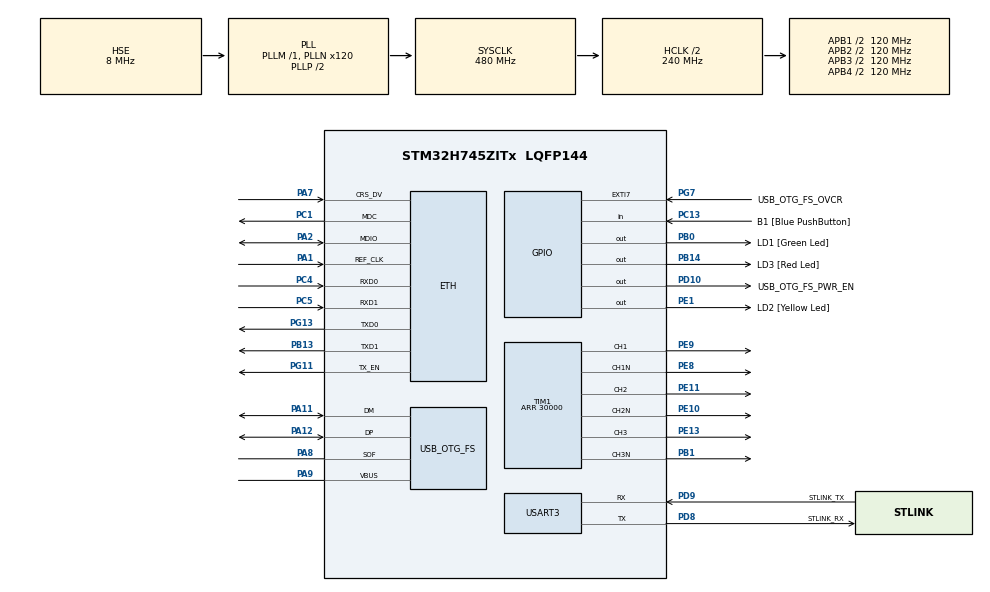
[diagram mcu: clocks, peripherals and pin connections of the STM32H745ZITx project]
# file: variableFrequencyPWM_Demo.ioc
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CortexM4.IPs=FATFS_M4\:I,FREERTOS_M4\:I,IWDG2\:I,RCC,WWDG2\:I,DMA,BDMA,MDMA,NVIC2\:I,USART3,ETH,DEBUG,USB_DEVICE_M4\:I,USB_HOST_M4\:I,PDM2PCM_M4\:I,PWR,RESMGR_UTILITY,SYS_M4\:I,CORTEX_M4\:I,OPENAMP_M4\:I,VREFBUF,GPIO
CortexM7.IPs=FATFS_M7\:I,FREERTOS_M7\:I,IWDG1\:I,RCC\:I,WWDG1\:I,DMA\:I,BDMA\:I,MDMA\:I,NVIC1\:I,SYS\:I,USART3\:I,USB_OTG_FS\:I,ETH\:I,CORTEX_M7\:I,DEBUG\:I,USB_DEVICE_M7\:I,USB_HOST_M7\:I,PDM2PCM_M7\:I,PWR\:I,RESMGR_UTILITY\:I,OPENAMP_M7\:I,VREFBUF\:I,GPIO\:I,TIM1\:I
ETH.MediaInterface=HAL_ETH_RMII_MODE
Mcu.Family=STM32H7
Mcu.Name=STM32H745ZITx
Mcu.Package=LQFP144
NVIC1.PriorityGroup=NVIC_PRIORITYGROUP_4
NVIC1.TIM1_UP_IRQn=true\:0\:0\:false\:false\:true\:true\:true\:true
NVIC2.PriorityGroup=NVIC_PRIORITYGROUP_4
PA1.Mode=RMII
PA1.PinAttribute=CortexM7
PA1.Signal=ETH_REF_CLK
PA11.Mode=Device_Only
PA11.PinAttribute=CortexM7
PA11.Signal=USB_OTG_FS_DM
PA12.Mode=Device_Only
PA12.PinAttribute=CortexM7
PA12.Signal=USB_OTG_FS_DP
PA2.Mode=RMII
PA2.PinAttribute=CortexM7
PA2.Signal=ETH_MDIO
PA7.Mode=RMII
PA7.PinAttribute=CortexM7
PA7.Signal=ETH_CRS_DV
PA8.Mode=Activate_SOF_FS
PA8.PinAttribute=CortexM7
PA8.Signal=USB_OTG_FS_SOF
PA9.Mode=Activate_VBUS
PA9.PinAttribute=CortexM7
PA9.Signal=USB_OTG_FS_VBUS
PB0.GPIO_Label=LD1 [Green Led]
PB0.PinAttribute=Free
PB0.Signal=GPIO_Output
PB1.Mode=PWM Generation3 CH3 CH3N
PB1.PinAttribute=CortexM7
PB1.Signal=TIM1_CH3N
PB13.Mode=RMII
PB13.PinAttribute=CortexM7
PB13.Signal=ETH_TXD1
PB14.GPIO_Label=LD3 [Red Led]
PB14.PinAttribute=Free
PB14.Signal=GPIO_Output
PC1.Mode=RMII
PC1.PinAttribute=CortexM7
PC1.Signal=ETH_MDC
PC13.GPIO_Label=B1 [Blue PushButton]
PC13.PinAttribute=Free
PC13.Signal=GPIO_Input
PC14-OSC32_IN\ (OSC32_IN).Mode=LSE-External-Oscillator
PC14-OSC32_IN\ (OSC32_IN).PinAttribute=CortexM7
PC14-OSC32_IN\ (OSC32_IN).Signal=RCC_OSC32_IN
PC15-OSC32_OUT\ (OSC32_OUT).Mode=LSE-External-Oscillator
PC15-OSC32_OUT\ (OSC32_OUT).PinAttribute=CortexM7
PC15-OSC32_OUT\ (OSC32_OUT).Signal=RCC_OSC32_OUT
PC4.Mode=RMII
PC4.PinAttribute=CortexM7
PC4.Signal=ETH_RXD0
PC5.Mode=RMII
PC5.PinAttribute=CortexM7
PC5.Signal=ETH_RXD1
PD10.GPIO_Label=USB_OTG_FS_PWR_EN
PD10.PinAttribute=Free
PD10.Signal=GPIO_Output
PD8.GPIO_Label=STLINK_RX
PD8.Mode=Asynchronous
PD8.PinAttribute=CortexM7
PD8.Signal=USART3_TX
PD9.GPIO_Label=STLINK_TX
PD9.Mode=Asynchronous
PD9.PinAttribute=CortexM7
PD9.Signal=USART3_RX
PE1.GPIO_Label=LD2 [Yellow Led]
PE1.PinAttribute=Free
PE1.Signal=GPIO_Output
PE10.Mode=PWM Generation2 CH2 CH2N
PE10.PinAttribute=CortexM7
PE10.Signal=TIM1_CH2N
PE11.PinAttribute=CortexM7
PE11.Signal=S_TIM1_CH2
PE13.PinAttribute=CortexM7
PE13.Signal=S_TIM1_CH3
PE8.Mode=PWM Generation1 CH1 CH1N
PE8.PinAttribute=CortexM7
PE8.Signal=TIM1_CH1N
PE9.PinAttribute=CortexM7
PE9.Signal=S_TIM1_CH1
PG11.Mode=RMII
PG11.PinAttribute=CortexM7
PG11.Signal=ETH_TX_EN
PG13.Mode=RMII
PG13.PinAttribute=CortexM7
PG13.Signal=ETH_TXD0
PG7.GPIO_Label=USB_OTG_FS_OVCR
PG7.PinAttribute=Free
PG7.Signal=GPXTI7
PH0-OSC_IN\ (PH0).Mode=HSE-External-Clock-Source
PH0-OSC_IN\ (PH0).PinAttribute=CortexM7
PH0-OSC_IN\ (PH0).Signal=RCC_OSC_IN
PH1-OSC_OUT\ (PH1).PinAttribute=CortexM7
PH1-OSC_OUT\ (PH1).Signal=RCC_OSC_OUT
ProjectManager.HeapSize=M4-0x200,M7-0x200
ProjectManager.StackSize=M4-0x400,M7-0x400
ProjectManager.TargetToolchain=STM32CubeIDE
RCC.ADCFreq_Value=16125000
RCC.APB1Freq_Value=120000000
RCC.APB2Freq_Value=120000000
RCC.APB3Freq_Value=120000000
RCC.APB4Freq_Value=120000000
RCC.CortexFreq_Value=480000000
RCC.D1PPRE=RCC_APB3_DIV2
RCC.D2PPRE1=RCC_APB1_DIV2
RCC.D2PPRE2=RCC_APB2_DIV2
RCC.D3PPRE=RCC_APB4_DIV2
RCC.DIVM1=1
RCC.DIVM3=1
RCC.DIVN1=120
RCC.DIVN3=18
RCC.DIVQ3=3
RCC.HCLKFreq_Value=240000000
RCC.HPRE=RCC_HCLK_DIV2
RCC.HSE_VALUE=8000000
RCC.PLL2FRACN=0
RCC.PLL3FRACN=6144
RCC.PLLFRACN=0
RCC.SYSCLKFreq_VALUE=480000000
RCC.SYSCLKSource=RCC_SYSCLKSOURCE_PLLCLK
RCC.SupplySource=PWR_DIRECT_SMPS_SUPPLY
RCC.USBCLockSelection=RCC_USBCLKSOURCE_PLL3
RCC.USBFreq_Value=50000000
SH.S_TIM1_CH1.0=TIM1_CH1,PWM Generation1 CH1 CH1N
SH.S_TIM1_CH2.0=TIM1_CH2,PWM Generation2 CH2 CH2N
SH.S_TIM1_CH3.0=TIM1_CH3,PWM Generation3 CH3 CH3N
TIM1.Channel-PWM\ Generation1\ CH1\ CH1N=TIM_CHANNEL_1
TIM1.Channel-PWM\ Generation2\ CH2\ CH2N=TIM_CHANNEL_2
TIM1.Channel-PWM\ Generation3\ CH3\ CH3N=TIM_CHANNEL_3
TIM1.CounterMode=TIM_COUNTERMODE_CENTERALIGNED1
TIM1.Period=30000
TIM1.Pulse-PWM\ Generation1\ CH1\ CH1N=7500
TIM1.Pulse-PWM\ Generation2\ CH2\ CH2N=15000
TIM1.Pulse-PWM\ Generation3\ CH3\ CH3N=22500
TIM1.RepetitionCounter=3
USART3.VirtualMode-Asynchronous=VM_ASYNC
USB_OTG_FS.VirtualMode=Device_Only
VP_SYS_M4_VS_Systick.Mode=SysTick
board=NUCLEO-H745ZI-Q

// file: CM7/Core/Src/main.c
/* USER CODE BEGIN Header */
/**
  ******************************************************************************
  * @file           : main.c
  * @brief          : Main program body
  ******************************************************************************
  * @attention
  *
  * Copyright (c) 2024 STMicroelectronics.
  * All rights reserved.
  *
  * This software is licensed under terms that can be found in the LICENSE file
  * in the root directory of this software component.
  * If no LICENSE file comes with this software, it is provided AS-IS.
  *
  ******************************************************************************
  */
/* USER CODE END Header */
#include "main.h"
#include "string.h"

/* USER CODE BEGIN Includes */
#define TIM1_PWM_FREQ_4K      7500
#define TIM1_PWM_FREQ_8K      15000
#define TIM1_PWM_FREQ_16K     30000

#define TIM1_PWM_4K_25DUTY      ( TIM1_PWM_FREQ_4K * 0.25 )
#define TIM1_PWM_4K_50DUTY      ( TIM1_PWM_FREQ_4K * 0.50 )
#define TIM1_PWM_4K_75DUTY      ( TIM1_PWM_FREQ_4K * 0.75 )

#define TIM1_PWM_8K_25DUTY      ( TIM1_PWM_FREQ_8K * 0.25 )
#define TIM1_PWM_8K_50DUTY      ( TIM1_PWM_FREQ_8K * 0.50 )
#define TIM1_PWM_8K_75DUTY      ( TIM1_PWM_FREQ_8K * 0.75 )

#define TIM1_PWM_16K_25DUTY      ( TIM1_PWM_FREQ_16K * 0.25 )
#define TIM1_PWM_16K_50DUTY      ( TIM1_PWM_FREQ_16K * 0.50 )
#define TIM1_PWM_16K_75DUTY      ( TIM1_PWM_FREQ_16K * 0.75 )
/* USER CODE END Includes */

/* USER CODE BEGIN PD */

#ifndef HSEM_ID_0
#define HSEM_ID_0 (0U) /* HW semaphore 0*/
#endif

/* USER CODE END PD */

#if defined ( __ICCARM__ ) /*!< IAR Compiler */
#pragma location=0x30000000
ETH_DMADescTypeDef  DMARxDscrTab[ETH_RX_DESC_CNT]; /* Ethernet Rx DMA Descriptors */
#pragma location=0x30000200
ETH_DMADescTypeDef  DMATxDscrTab[ETH_TX_DESC_CNT]; /* Ethernet Tx DMA Descriptors */

#elif defined ( __CC_ARM )  /* MDK ARM Compiler */

__attribute__((at(0x30000000))) ETH_DMADescTypeDef  DMARxDscrTab[ETH_RX_DESC_CNT]; /* Ethernet Rx DMA Descriptors */
__attribute__((at(0x30000200))) ETH_DMADescTypeDef  DMATxDscrTab[ETH_TX_DESC_CNT]; /* Ethernet Tx DMA Descriptors */

#elif defined ( __GNUC__ ) /* GNU Compiler */

ETH_DMADescTypeDef DMARxDscrTab[ETH_RX_DESC_CNT] __attribute__((section(".RxDecripSection"))); /* Ethernet Rx DMA Descriptors */
ETH_DMADescTypeDef DMATxDscrTab[ETH_TX_DESC_CNT] __attribute__((section(".TxDecripSection")));   /* Ethernet Tx DMA Descriptors */
#endif

ETH_TxPacketConfig TxConfig;

ETH_HandleTypeDef heth;

TIM_HandleTypeDef htim1;

UART_HandleTypeDef huart3;

PCD_HandleTypeDef hpcd_USB_OTG_FS;

/* USER CODE BEGIN PV */
uint32_t timer_ar_value = TIM1_PWM_FREQ_4K;
/* USER CODE END PV */

void SystemClock_Config(void);
static void MX_GPIO_Init(void);
static void MX_ETH_Init(void);
static void MX_USART3_UART_Init(void);
static void MX_USB_OTG_FS_PCD_Init(void);
static void MX_TIM1_Init(void);

int main(void)
{

/* USER CODE BEGIN Boot_Mode_Sequence_0 */
  int32_t timeout;
/* USER CODE END Boot_Mode_Sequence_0 */

/* USER CODE BEGIN Boot_Mode_Sequence_1 */
  /* Wait until CPU2 boots and enters in stop mode or timeout*/
  timeout = 0xFFFF;
  while((__HAL_RCC_GET_FLAG(RCC_FLAG_D2CKRDY) != RESET) && (timeout-- > 0));
  if ( timeout < 0 )
  {
  Error_Handler();
  }
/* USER CODE END Boot_Mode_Sequence_1 */
  /* MCU Configuration--------------------------------------------------------*/

  /* Reset of all peripherals, Initializes the Flash interface and the Systick. */
  HAL_Init();

  /* Configure the system clock */
  SystemClock_Config();
/* USER CODE BEGIN Boot_Mode_Sequence_2 */
/* When system initialization is finished, Cortex-M7 will release Cortex-M4 by means of
HSEM notification */
/*HW semaphore Clock enable*/
__HAL_RCC_HSEM_CLK_ENABLE();
/*Take HSEM */
HAL_HSEM_FastTake(HSEM_ID_0);
/*Release HSEM in order to notify the CPU2(CM4)*/
HAL_HSEM_Release(HSEM_ID_0,0);
/* wait until CPU2 wakes up from stop mode */
timeout = 0xFFFF;
while((__HAL_RCC_GET_FLAG(RCC_FLAG_D2CKRDY) == RESET) && (timeout-- > 0));
if ( timeout < 0 )
{
Error_Handler();
}
/* USER CODE END Boot_Mode_Sequence_2 */

  /* Initialize all configured peripherals */
  MX_GPIO_Init();
  MX_ETH_Init();
  MX_USART3_UART_Init();
  MX_USB_OTG_FS_PCD_Init();
  MX_TIM1_Init();
  /* USER CODE BEGIN 2 */
  HAL_TIM_Base_Start_IT( &htim1 );
  HAL_TIM_PWM_Start( &htim1, TIM_CHANNEL_1 );
  HAL_TIM_PWM_Start( &htim1, TIM_CHANNEL_2 );
  HAL_TIM_PWM_Start( &htim1, TIM_CHANNEL_3 );
  HAL_TIMEx_PWMN_Start( &htim1, TIM_CHANNEL_1 );
  HAL_TIMEx_PWMN_Start( &htim1, TIM_CHANNEL_2 );
  HAL_TIMEx_PWMN_Start( &htim1, TIM_CHANNEL_3 );
  /* USER CODE END 2 */

  /* Infinite loop */
  while (1)
  {

  }
}

void SystemClock_Config(void)
{
  RCC_OscInitTypeDef RCC_OscInitStruct = {0};
  RCC_ClkInitTypeDef RCC_ClkInitStruct = {0};

  /** Supply configuration update enable
  */
  HAL_PWREx_ConfigSupply(PWR_DIRECT_SMPS_SUPPLY);

  /** Configure the main internal regulator output voltage
  */
  __HAL_PWR_VOLTAGESCALING_CONFIG(PWR_REGULATOR_VOLTAGE_SCALE0);

  while(!__HAL_PWR_GET_FLAG(PWR_FLAG_VOSRDY)) {}

  /** Initializes the RCC Oscillators according to the specified parameters
  * in the RCC_OscInitTypeDef structure.
  */
  RCC_OscInitStruct.OscillatorType = RCC_OSCILLATORTYPE_HSE;
  RCC_OscInitStruct.HSEState = RCC_HSE_BYPASS;
  RCC_OscInitStruct.PLL.PLLState = RCC_PLL_ON;
  RCC_OscInitStruct.PLL.PLLSource = RCC_PLLSOURCE_HSE;
  RCC_OscInitStruct.PLL.PLLM = 1;
  RCC_OscInitStruct.PLL.PLLN = 120;
  RCC_OscInitStruct.PLL.PLLP = 2;
  RCC_OscInitStruct.PLL.PLLQ = 2;
  RCC_OscInitStruct.PLL.PLLR = 2;
  RCC_OscInitStruct.PLL.PLLRGE = RCC_PLL1VCIRANGE_3;
  RCC_OscInitStruct.PLL.PLLVCOSEL = RCC_PLL1VCOWIDE;
  RCC_OscInitStruct.PLL.PLLFRACN = 0;
  if (HAL_RCC_OscConfig(&RCC_OscInitStruct) != HAL_OK)
  {
    Error_Handler();
  }

  /** Initializes the CPU, AHB and APB buses clocks
  */
  RCC_ClkInitStruct.ClockType = RCC_CLOCKTYPE_HCLK|RCC_CLOCKTYPE_SYSCLK
                              |RCC_CLOCKTYPE_PCLK1|RCC_CLOCKTYPE_PCLK2
                              |RCC_CLOCKTYPE_D3PCLK1|RCC_CLOCKTYPE_D1PCLK1;
  RCC_ClkInitStruct.SYSCLKSource = RCC_SYSCLKSOURCE_PLLCLK;
  RCC_ClkInitStruct.SYSCLKDivider = RCC_SYSCLK_DIV1;
  RCC_ClkInitStruct.AHBCLKDivider = RCC_HCLK_DIV2;
  RCC_ClkInitStruct.APB3CLKDivider = RCC_APB3_DIV2;
  RCC_ClkInitStruct.APB1CLKDivider = RCC_APB1_DIV2;
  RCC_ClkInitStruct.APB2CLKDivider = RCC_APB2_DIV2;
  RCC_ClkInitStruct.APB4CLKDivider = RCC_APB4_DIV2;

  if (HAL_RCC_ClockConfig(&RCC_ClkInitStruct, FLASH_LATENCY_4) != HAL_OK)
  {
    Error_Handler();
  }
}

static void MX_ETH_Init(void)
{

   static uint8_t MACAddr[6];

  heth.Instance = ETH;
  MACAddr[0] = 0x00;
  MACAddr[1] = 0x80;
  MACAddr[2] = 0xE1;
  MACAddr[3] = 0x00;
  MACAddr[4] = 0x00;
  MACAddr[5] = 0x00;
  heth.Init.MACAddr = &MACAddr[0];
  heth.Init.MediaInterface = HAL_ETH_RMII_MODE;
  heth.Init.TxDesc = DMATxDscrTab;
  heth.Init.RxDesc = DMARxDscrTab;
  heth.Init.RxBuffLen = 1524;

  if (HAL_ETH_Init(&heth) != HAL_OK)
  {
    Error_Handler();
  }

  memset(&TxConfig, 0 , sizeof(ETH_TxPacketConfig));
  TxConfig.Attributes = ETH_TX_PACKETS_FEATURES_CSUM | ETH_TX_PACKETS_FEATURES_CRCPAD;
  TxConfig.ChecksumCtrl = ETH_CHECKSUM_IPHDR_PAYLOAD_INSERT_PHDR_CALC;
  TxConfig.CRCPadCtrl = ETH_CRC_PAD_INSERT;

}

static void MX_TIM1_Init(void)
{

  TIM_MasterConfigTypeDef sMasterConfig = {0};
  TIM_OC_InitTypeDef sConfigOC = {0};
  TIM_BreakDeadTimeConfigTypeDef sBreakDeadTimeConfig = {0};

  htim1.Instance = TIM1;
  htim1.Init.Prescaler = 0;
  htim1.Init.CounterMode = TIM_COUNTERMODE_CENTERALIGNED1;
  htim1.Init.Period = 30000;
  htim1.Init.ClockDivision = TIM_CLOCKDIVISION_DIV1;
  htim1.Init.RepetitionCounter = 3;
  htim1.Init.AutoReloadPreload = TIM_AUTORELOAD_PRELOAD_DISABLE;
  if (HAL_TIM_PWM_Init(&htim1) != HAL_OK)
  {
    Error_Handler();
  }
  sMasterConfig.MasterOutputTrigger = TIM_TRGO_RESET;
  sMasterConfig.MasterOutputTrigger2 = TIM_TRGO2_RESET;
  sMasterConfig.MasterSlaveMode = TIM_MASTERSLAVEMODE_DISABLE;
  if (HAL_TIMEx_MasterConfigSynchronization(&htim1, &sMasterConfig) != HAL_OK)
  {
    Error_Handler();
  }
  sConfigOC.OCMode = TIM_OCMODE_PWM1;
  sConfigOC.Pulse = 7500;
  sConfigOC.OCPolarity = TIM_OCPOLARITY_HIGH;
  sConfigOC.OCNPolarity = TIM_OCNPOLARITY_HIGH;
  sConfigOC.OCFastMode = TIM_OCFAST_DISABLE;
  sConfigOC.OCIdleState = TIM_OCIDLESTATE_RESET;
  sConfigOC.OCNIdleState = TIM_OCNIDLESTATE_RESET;
  if (HAL_TIM_PWM_ConfigChannel(&htim1, &sConfigOC, TIM_CHANNEL_1) != HAL_OK)
  {
    Error_Handler();
  }
  sConfigOC.Pulse = 15000;
  if (HAL_TIM_PWM_ConfigChannel(&htim1, &sConfigOC, TIM_CHANNEL_2) != HAL_OK)
  {
    Error_Handler();
  }
  sConfigOC.Pulse = 22500;
  if (HAL_TIM_PWM_ConfigChannel(&htim1, &sConfigOC, TIM_CHANNEL_3) != HAL_OK)
  {
    Error_Handler();
  }
  sBreakDeadTimeConfig.OffStateRunMode = TIM_OSSR_DISABLE;
  sBreakDeadTimeConfig.OffStateIDLEMode = TIM_OSSI_DISABLE;
  sBreakDeadTimeConfig.LockLevel = TIM_LOCKLEVEL_OFF;
  sBreakDeadTimeConfig.DeadTime = 0;
  sBreakDeadTimeConfig.BreakState = TIM_BREAK_DISABLE;
  sBreakDeadTimeConfig.BreakPolarity = TIM_BREAKPOLARITY_HIGH;
  sBreakDeadTimeConfig.BreakFilter = 0;
  sBreakDeadTimeConfig.Break2State = TIM_BREAK2_DISABLE;
  sBreakDeadTimeConfig.Break2Polarity = TIM_BREAK2POLARITY_HIGH;
  sBreakDeadTimeConfig.Break2Filter = 0;
  sBreakDeadTimeConfig.AutomaticOutput = TIM_AUTOMATICOUTPUT_DISABLE;
  if (HAL_TIMEx_ConfigBreakDeadTime(&htim1, &sBreakDeadTimeConfig) != HAL_OK)
  {
    Error_Handler();
  }
  HAL_TIM_MspPostInit(&htim1);

}

static void MX_USART3_UART_Init(void)
{

  huart3.Instance = USART3;
  huart3.Init.BaudRate = 115200;
  huart3.Init.WordLength = UART_WORDLENGTH_8B;
  huart3.Init.StopBits = UART_STOPBITS_1;
  huart3.Init.Parity = UART_PARITY_NONE;
  huart3.Init.Mode = UART_MODE_TX_RX;
  huart3.Init.HwFlowCtl = UART_HWCONTROL_NONE;
  huart3.Init.OverSampling = UART_OVERSAMPLING_16;
  huart3.Init.OneBitSampling = UART_ONE_BIT_SAMPLE_DISABLE;
  huart3.Init.ClockPrescaler = UART_PRESCALER_DIV1;
  huart3.AdvancedInit.AdvFeatureInit = UART_ADVFEATURE_NO_INIT;
  if (HAL_UART_Init(&huart3) != HAL_OK)
  {
    Error_Handler();
  }
  if (HAL_UARTEx_SetTxFifoThreshold(&huart3, UART_TXFIFO_THRESHOLD_1_8) != HAL_OK)
  {
    Error_Handler();
  }
  if (HAL_UARTEx_SetRxFifoThreshold(&huart3, UART_RXFIFO_THRESHOLD_1_8) != HAL_OK)
  {
    Error_Handler();
  }
  if (HAL_UARTEx_DisableFifoMode(&huart3) != HAL_OK)
  {
    Error_Handler();
  }

}

static void MX_USB_OTG_FS_PCD_Init(void)
{

  hpcd_USB_OTG_FS.Instance = USB_OTG_FS;
  hpcd_USB_OTG_FS.Init.dev_endpoints = 9;
  hpcd_USB_OTG_FS.Init.speed = PCD_SPEED_FULL;
  hpcd_USB_OTG_FS.Init.dma_enable = DISABLE;
  hpcd_USB_OTG_FS.Init.phy_itface = PCD_PHY_EMBEDDED;
  hpcd_USB_OTG_FS.Init.Sof_enable = ENABLE;
  hpcd_USB_OTG_FS.Init.low_power_enable = DISABLE;
  hpcd_USB_OTG_FS.Init.lpm_enable = DISABLE;
  hpcd_USB_OTG_FS.Init.battery_charging_enable = ENABLE;
  hpcd_USB_OTG_FS.Init.vbus_sensing_enable = ENABLE;
  hpcd_USB_OTG_FS.Init.use_dedicated_ep1 = DISABLE;
  if (HAL_PCD_Init(&hpcd_USB_OTG_FS) != HAL_OK)
  {
    Error_Handler();
  }

}

static void MX_GPIO_Init(void)
{

  /* GPIO Ports Clock Enable */
  __HAL_RCC_GPIOC_CLK_ENABLE();
  __HAL_RCC_GPIOH_CLK_ENABLE();
  __HAL_RCC_GPIOA_CLK_ENABLE();
  __HAL_RCC_GPIOB_CLK_ENABLE();
  __HAL_RCC_GPIOE_CLK_ENABLE();
  __HAL_RCC_GPIOD_CLK_ENABLE();
  __HAL_RCC_GPIOG_CLK_ENABLE();

}

/* USER CODE BEGIN 4 */
void HAL_TIM_PeriodElapsedCallback(TIM_HandleTypeDef *htim)
{
  if ( timer_ar_value == TIM1_PWM_FREQ_4K )
  {
    timer_ar_value = TIM1_PWM_FREQ_8K;
    __HAL_TIM_SET_AUTORELOAD( &htim1, TIM1_PWM_FREQ_8K );
    __HAL_TIM_SET_COMPARE( &htim1, TIM_CHANNEL_1, TIM1_PWM_8K_25DUTY );
    __HAL_TIM_SET_COMPARE( &htim1, TIM_CHANNEL_2, TIM1_PWM_8K_50DUTY );
    __HAL_TIM_SET_COMPARE( &htim1, TIM_CHANNEL_3, TIM1_PWM_8K_75DUTY );
    HAL_Delay(5000);
  }
  else if ( timer_ar_value == TIM1_PWM_FREQ_8K )
  {
    timer_ar_value = TIM1_PWM_FREQ_16K;
    __HAL_TIM_SET_AUTORELOAD( &htim1, TIM1_PWM_FREQ_16K );
    __HAL_TIM_SET_COMPARE( &htim1, TIM_CHANNEL_1, TIM1_PWM_16K_25DUTY );
    __HAL_TIM_SET_COMPARE( &htim1, TIM_CHANNEL_2, TIM1_PWM_16K_50DUTY );
    __HAL_TIM_SET_COMPARE( &htim1, TIM_CHANNEL_3, TIM1_PWM_16K_75DUTY );
    HAL_Delay(5000);
  }
  else if ( timer_ar_value == TIM1_PWM_FREQ_16K )
  {
    timer_ar_value = TIM1_PWM_FREQ_4K;
    __HAL_TIM_SET_AUTORELOAD( &htim1, TIM1_PWM_FREQ_4K );
    __HAL_TIM_SET_COMPARE( &htim1, TIM_CHANNEL_1, TIM1_PWM_4K_25DUTY );
    __HAL_TIM_SET_COMPARE( &htim1, TIM_CHANNEL_2, TIM1_PWM_4K_50DUTY );
    __HAL_TIM_SET_COMPARE( &htim1, TIM_CHANNEL_3, TIM1_PWM_4K_75DUTY );
    HAL_Delay(5000);
  }
  else
  {
    timer_ar_value = TIM1_PWM_FREQ_4K;
    __HAL_TIM_SET_AUTORELOAD( &htim1, TIM1_PWM_FREQ_4K );
    __HAL_TIM_SET_COMPARE( &htim1, TIM_CHANNEL_1, TIM1_PWM_4K_25DUTY );
    __HAL_TIM_SET_COMPARE( &htim1, TIM_CHANNEL_2, TIM1_PWM_4K_50DUTY );
    __HAL_TIM_SET_COMPARE( &htim1, TIM_CHANNEL_3, TIM1_PWM_4K_75DUTY );
    HAL_Delay(5000);
  }
}

/* USER CODE END 4 */

void Error_Handler(void)
{
  __disable_irq();
  while (1)
  {
  }
}
